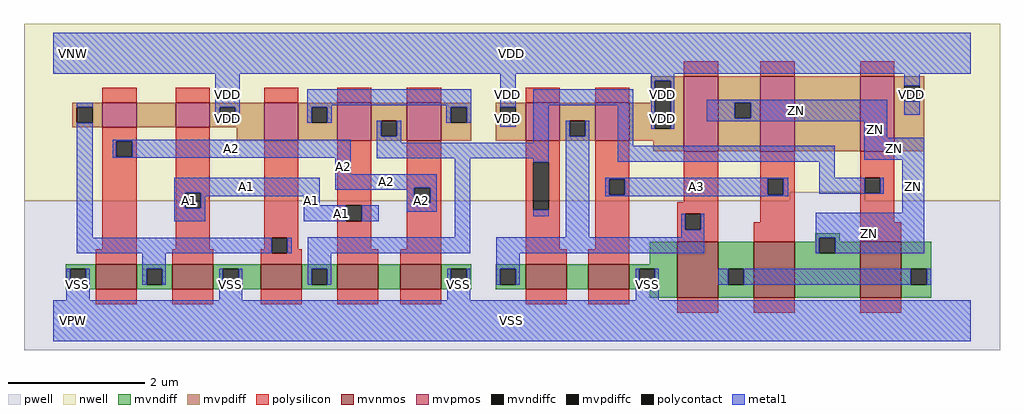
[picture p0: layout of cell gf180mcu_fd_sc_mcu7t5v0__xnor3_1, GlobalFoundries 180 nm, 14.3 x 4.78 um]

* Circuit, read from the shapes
.subckt gf180mcu_fd_sc_mcu7t5v0__xnor3_1 A1 A2 A3 ZN VDD VNW VPW VSS
XM1 n1 A2 VSS VPW nfet_06v0 w=0.36u l=0.6u
XM2 VSS A1 n1 VPW nfet_06v0 w=0.36u l=0.6u
XM3 n2 n1 VSS VPW nfet_06v0 w=0.36u l=0.6u
XM4 n3 A1 n2 VPW nfet_06v0 w=0.36u l=0.6u
XM5 VSS A2 n3 VPW nfet_06v0 w=0.36u l=0.6u
XM6 n4 n2 n5 VPW nfet_06v0 w=0.36u l=0.6u
XM7 VSS A3 n4 VPW nfet_06v0 w=0.36u l=0.6u
XM8 n6 n5 VSS VPW nfet_06v0 w=0.82u l=0.6u
XM9 ZN A3 n6 VPW nfet_06v0 w=0.82u l=0.6u
XM10 n6 n2 ZN VPW nfet_06v0 w=0.82u l=0.6u
XM11 n7 A2 n1 VNW pfet_06v0 w=0.36u l=0.5u
XM12 VDD A1 n7 VNW pfet_06v0 w=0.36u l=0.5u
XM13 n8 n1 VDD VNW pfet_06v0 w=0.56u l=0.5u
XM14 n2 A1 n8 VNW pfet_06v0 w=0.56u l=0.5u
XM15 n8 A2 n2 VNW pfet_06v0 w=0.56u l=0.5u
XM16 n5 n2 VDD VNW pfet_06v0 w=0.56u l=0.5u
XM17 VDD A3 n5 VNW pfet_06v0 w=0.56u l=0.5u
XM18 ZN n5 VDD VNW pfet_06v0 w=1.095u l=0.5u
XM19 n9 A3 ZN VNW pfet_06v0 w=1.095u l=0.5u
XM20 VDD n2 n9 VNW pfet_06v0 w=1.095u l=0.5u
.ends

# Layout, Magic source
magic
tech gf180mcuD
magscale 1 10
<< nwell >>
rect -86 377 2774 870
rect -86 352 2158 377
rect 2378 352 2774 377
<< pwell >>
rect 2158 352 2378 377
rect -86 -86 2774 352
<< mvnmos >>
rect 124 93 244 165
rect 348 93 468 165
rect 608 93 728 165
rect 832 93 952 165
rect 1016 93 1136 165
rect 1384 93 1504 165
rect 1568 93 1688 165
rect 1828 68 1948 232
rect 2052 68 2172 232
rect 2364 68 2484 232
<< mvpmos >>
rect 144 567 244 639
rect 358 567 458 639
rect 618 527 718 639
rect 832 527 932 639
rect 1036 527 1136 639
rect 1384 527 1484 639
rect 1588 527 1688 639
rect 1848 497 1948 716
rect 2072 497 2172 716
rect 2364 497 2464 716
<< mvndiff >>
rect 2232 244 2304 257
rect 2232 232 2245 244
rect 1748 165 1828 232
rect 36 152 124 165
rect 36 106 49 152
rect 95 106 124 152
rect 36 93 124 106
rect 244 152 348 165
rect 244 106 273 152
rect 319 106 348 152
rect 244 93 348 106
rect 468 152 608 165
rect 468 106 497 152
rect 543 106 608 152
rect 468 93 608 106
rect 728 152 832 165
rect 728 106 757 152
rect 803 106 832 152
rect 728 93 832 106
rect 952 93 1016 165
rect 1136 152 1224 165
rect 1136 106 1165 152
rect 1211 106 1224 152
rect 1136 93 1224 106
rect 1296 152 1384 165
rect 1296 106 1309 152
rect 1355 106 1384 152
rect 1296 93 1384 106
rect 1504 93 1568 165
rect 1688 152 1828 165
rect 1688 106 1717 152
rect 1763 106 1828 152
rect 1688 93 1828 106
rect 1748 68 1828 93
rect 1948 152 2052 232
rect 1948 106 1977 152
rect 2023 106 2052 152
rect 1948 68 2052 106
rect 2172 198 2245 232
rect 2291 232 2304 244
rect 2291 198 2364 232
rect 2172 68 2364 198
rect 2484 152 2572 232
rect 2484 106 2513 152
rect 2559 106 2572 152
rect 2484 68 2572 106
<< mvpdiff >>
rect 1750 703 1848 716
rect 1750 639 1763 703
rect 56 626 144 639
rect 56 580 69 626
rect 115 580 144 626
rect 56 567 144 580
rect 244 567 358 639
rect 458 626 618 639
rect 458 580 487 626
rect 533 580 618 626
rect 458 567 618 580
rect 538 527 618 567
rect 718 626 832 639
rect 718 580 757 626
rect 803 580 832 626
rect 718 527 832 580
rect 932 586 1036 639
rect 932 540 961 586
rect 1007 540 1036 586
rect 932 527 1036 540
rect 1136 626 1224 639
rect 1136 580 1165 626
rect 1211 580 1224 626
rect 1136 527 1224 580
rect 1296 626 1384 639
rect 1296 580 1309 626
rect 1355 580 1384 626
rect 1296 527 1384 580
rect 1484 586 1588 639
rect 1484 540 1513 586
rect 1559 540 1588 586
rect 1484 527 1588 540
rect 1688 563 1763 639
rect 1809 563 1848 703
rect 1688 527 1848 563
rect 1758 497 1848 527
rect 1948 639 2072 716
rect 1948 593 1997 639
rect 2043 593 2072 639
rect 1948 497 2072 593
rect 2172 497 2364 716
rect 2464 689 2552 716
rect 2464 643 2493 689
rect 2539 643 2552 689
rect 2464 497 2552 643
<< mvndiffc >>
rect 49 106 95 152
rect 273 106 319 152
rect 497 106 543 152
rect 757 106 803 152
rect 1165 106 1211 152
rect 1309 106 1355 152
rect 1717 106 1763 152
rect 1977 106 2023 152
rect 2245 198 2291 244
rect 2513 106 2559 152
<< mvpdiffc >>
rect 69 580 115 626
rect 487 580 533 626
rect 757 580 803 626
rect 961 540 1007 586
rect 1165 580 1211 626
rect 1309 580 1355 626
rect 1513 540 1559 586
rect 1763 563 1809 703
rect 1997 593 2043 639
rect 2493 643 2539 689
<< polysilicon >>
rect 1848 716 1948 760
rect 2072 716 2172 760
rect 2364 716 2464 760
rect 144 639 244 683
rect 358 639 458 683
rect 618 639 718 683
rect 832 639 932 683
rect 1036 639 1136 683
rect 1384 639 1484 683
rect 1588 639 1688 683
rect 144 526 244 567
rect 144 480 185 526
rect 231 480 244 526
rect 144 209 244 480
rect 358 375 458 567
rect 358 329 386 375
rect 432 329 458 375
rect 358 209 458 329
rect 618 244 718 527
rect 618 209 640 244
rect 124 165 244 209
rect 348 165 468 209
rect 608 198 640 209
rect 686 209 718 244
rect 832 338 932 527
rect 832 292 857 338
rect 903 292 932 338
rect 832 209 932 292
rect 1036 390 1136 527
rect 1036 344 1058 390
rect 1104 344 1136 390
rect 1036 209 1136 344
rect 686 198 728 209
rect 608 165 728 198
rect 832 165 952 209
rect 1016 165 1136 209
rect 1384 465 1484 527
rect 1384 325 1406 465
rect 1452 325 1484 465
rect 1384 209 1484 325
rect 1588 415 1688 527
rect 1588 369 1629 415
rect 1675 369 1688 415
rect 1588 209 1688 369
rect 1848 348 1948 497
rect 1828 313 1948 348
rect 1828 267 1851 313
rect 1897 267 1948 313
rect 2072 416 2172 497
rect 2072 370 2093 416
rect 2139 370 2172 416
rect 2072 288 2172 370
rect 1828 232 1948 267
rect 2052 232 2172 288
rect 2364 419 2464 497
rect 2364 373 2377 419
rect 2423 373 2464 419
rect 2364 288 2464 373
rect 1384 165 1504 209
rect 1568 165 1688 209
rect 124 49 244 93
rect 348 49 468 93
rect 608 49 728 93
rect 832 49 952 93
rect 1016 49 1136 93
rect 1384 49 1504 93
rect 1568 49 1688 93
rect 2364 232 2484 288
rect 1828 24 1948 68
rect 2052 24 2172 68
rect 2364 24 2484 68
<< polycontact >>
rect 185 480 231 526
rect 386 329 432 375
rect 640 198 686 244
rect 857 292 903 338
rect 1058 344 1104 390
rect 1406 325 1452 465
rect 1629 369 1675 415
rect 1851 267 1897 313
rect 2093 370 2139 416
rect 2377 373 2423 419
<< metal1 >>
rect 0 724 2688 844
rect 69 626 115 639
rect 474 626 546 724
rect 474 580 487 626
rect 533 580 546 626
rect 744 632 1224 678
rect 744 626 816 632
rect 744 580 757 626
rect 803 580 816 626
rect 1152 626 1224 632
rect 69 244 115 580
rect 948 540 961 586
rect 1007 540 1020 586
rect 1152 580 1165 626
rect 1211 580 1224 626
rect 1309 626 1355 724
rect 1752 703 1820 724
rect 1309 568 1355 580
rect 1406 632 1700 678
rect 174 526 872 531
rect 174 480 185 526
rect 231 480 872 526
rect 174 477 872 480
rect 826 430 872 477
rect 948 522 1020 540
rect 1406 522 1452 632
rect 948 476 1452 522
rect 354 375 780 419
rect 826 390 1124 430
rect 826 384 1058 390
rect 354 329 386 375
rect 432 365 780 375
rect 432 329 445 365
rect 354 291 445 329
rect 734 338 780 365
rect 1035 344 1058 384
rect 1104 344 1124 390
rect 734 292 857 338
rect 903 292 954 338
rect 1035 319 1124 344
rect 734 291 954 292
rect 1176 245 1222 476
rect 1406 465 1452 476
rect 1406 307 1452 325
rect 1502 540 1513 586
rect 1559 540 1570 586
rect 1502 245 1570 540
rect 1654 513 1700 632
rect 1752 563 1763 703
rect 1809 563 1820 703
rect 2493 689 2539 724
rect 1914 639 2443 648
rect 1914 593 1997 639
rect 2043 593 2443 639
rect 2493 603 2539 643
rect 1914 584 2443 593
rect 2376 536 2443 584
rect 1654 466 2290 513
rect 2376 472 2552 536
rect 2244 419 2290 466
rect 1617 416 2153 419
rect 1617 415 2093 416
rect 1617 369 1629 415
rect 1675 370 2093 415
rect 2139 370 2153 416
rect 2244 373 2377 419
rect 2423 373 2434 419
rect 2244 372 2434 373
rect 1675 369 2153 370
rect 1617 365 2153 369
rect 2488 316 2552 472
rect 1840 267 1851 313
rect 1897 267 1908 313
rect 1840 245 1908 267
rect 69 198 640 244
rect 686 198 699 244
rect 746 198 1222 245
rect 1298 198 1908 245
rect 2234 244 2552 316
rect 2234 198 2245 244
rect 2291 198 2552 244
rect 261 152 330 198
rect 746 152 814 198
rect 1298 152 1366 198
rect 38 106 49 152
rect 95 106 106 152
rect 261 106 273 152
rect 319 106 330 152
rect 486 106 497 152
rect 543 106 554 152
rect 746 106 757 152
rect 803 106 814 152
rect 1154 106 1165 152
rect 1211 106 1222 152
rect 1298 106 1309 152
rect 1355 106 1366 152
rect 1706 106 1717 152
rect 1763 106 1774 152
rect 1948 106 1977 152
rect 2023 106 2513 152
rect 2559 106 2572 152
rect 38 60 106 106
rect 486 60 554 106
rect 1154 60 1222 106
rect 1706 60 1774 106
rect 0 -60 2688 60
<< labels >>
flabel metal1 s 1617 365 2153 419 0 FreeSans 400 0 0 0 A3
port 3 nsew default input
flabel metal1 s 0 724 2688 844 0 FreeSans 400 0 0 0 VDD
port 5 nsew power bidirectional abutment
flabel metal1 s 1706 60 1774 152 0 FreeSans 400 0 0 0 VSS
port 8 nsew ground bidirectional abutment
flabel metal1 s 1914 584 2443 648 0 FreeSans 400 0 0 0 ZN
port 4 nsew default output
flabel metal1 s 354 365 780 419 0 FreeSans 400 0 0 0 A1
port 1 nsew default input
flabel metal1 s 174 477 872 531 0 FreeSans 400 0 0 0 A2
port 2 nsew default input
flabel nwell s 10 734 110 834 0 FreeSans 400 0 0 0 VNW
port 6 nsew power bidirectional
flabel pwell s 10 -50 110 50 0 FreeSans 400 0 0 0 VPW
port 7 nsew ground bidirectional
rlabel metal1 s 734 338 780 365 1 A1
port 1 nsew default input
rlabel metal1 s 354 338 445 365 1 A1
port 1 nsew default input
rlabel metal1 s 734 291 954 338 1 A1
port 1 nsew default input
rlabel metal1 s 354 291 445 338 1 A1
port 1 nsew default input
rlabel metal1 s 826 430 872 477 1 A2
port 2 nsew default input
rlabel metal1 s 826 384 1124 430 1 A2
port 2 nsew default input
rlabel metal1 s 1035 319 1124 384 1 A2
port 2 nsew default input
rlabel metal1 s 2376 536 2443 584 1 ZN
port 4 nsew default output
rlabel metal1 s 2376 472 2552 536 1 ZN
port 4 nsew default output
rlabel metal1 s 2488 316 2552 472 1 ZN
port 4 nsew default output
rlabel metal1 s 2234 198 2552 316 1 ZN
port 4 nsew default output
rlabel metal1 s 2493 603 2539 724 1 VDD
port 5 nsew power bidirectional abutment
rlabel metal1 s 1752 603 1820 724 1 VDD
port 5 nsew power bidirectional abutment
rlabel metal1 s 1309 603 1355 724 1 VDD
port 5 nsew power bidirectional abutment
rlabel metal1 s 474 603 546 724 1 VDD
port 5 nsew power bidirectional abutment
rlabel metal1 s 1752 580 1820 603 1 VDD
port 5 nsew power bidirectional abutment
rlabel metal1 s 1309 580 1355 603 1 VDD
port 5 nsew power bidirectional abutment
rlabel metal1 s 474 580 546 603 1 VDD
port 5 nsew power bidirectional abutment
rlabel metal1 s 1752 568 1820 580 1 VDD
port 5 nsew power bidirectional abutment
rlabel metal1 s 1309 568 1355 580 1 VDD
port 5 nsew power bidirectional abutment
rlabel metal1 s 1752 563 1820 568 1 VDD
port 5 nsew power bidirectional abutment
rlabel metal1 s 1154 60 1222 152 1 VSS
port 8 nsew ground bidirectional abutment
rlabel metal1 s 486 60 554 152 1 VSS
port 8 nsew ground bidirectional abutment
rlabel metal1 s 38 60 106 152 1 VSS
port 8 nsew ground bidirectional abutment
rlabel metal1 s 0 -60 2688 60 1 VSS
port 8 nsew ground bidirectional abutment
<< properties >>
string FIXED_BBOX 0 0 2688 784
string GDS_END 341068
string GDS_FILE $PDKPATH/libs.ref/gf180mcu_fd_sc_mcu7t5v0/gds/gf180mcu_fd_sc_mcu7t5v0.gds
string GDS_START 334956
string LEFclass core
string LEFsite GF018hv5v_mcu_sc7
string LEFsymmetry X Y
<< end >>
